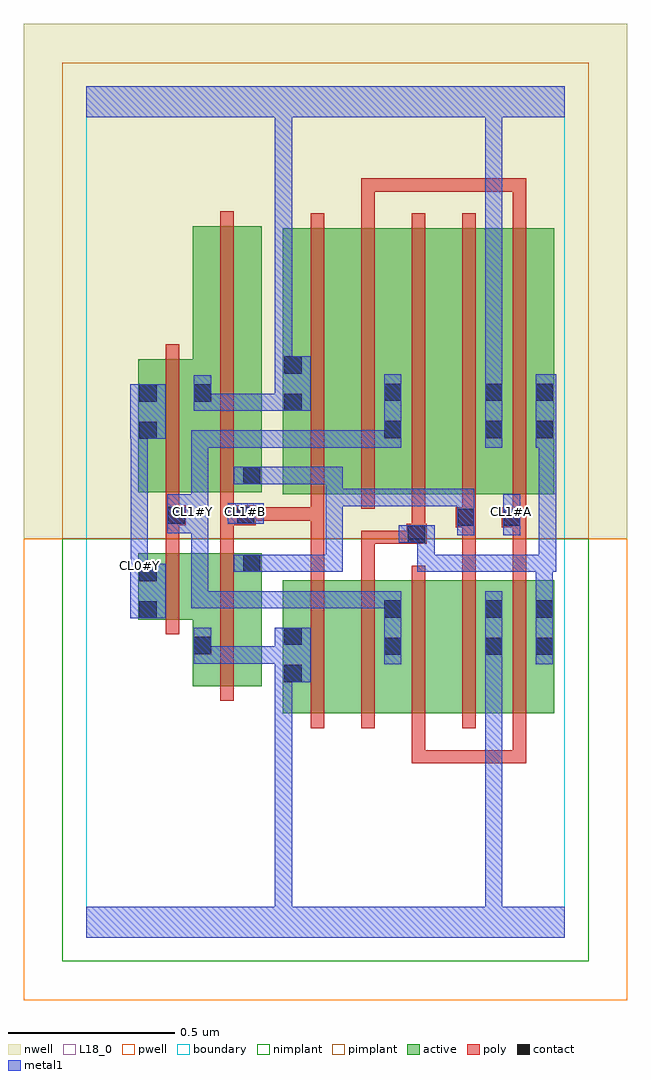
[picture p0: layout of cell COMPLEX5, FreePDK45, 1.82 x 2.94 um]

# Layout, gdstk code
import gdstk
lib = gdstk.Library(unit=1e-6, precision=1e-09)
def R(c, l, rs):  # rectangles x0, y0, x1, y1
    for r in rs: c.add(gdstk.rectangle(r[:2], r[2:], *l))
def A(c, l, x, y, w, h, nx, ny, dx, dy):  # array of equal rectangles
    R(c, l, [(x+i*dx, y+j*dy, x+i*dx+w, y+j*dy+h) for i in range(nx) for j in range(ny)])
active = (1, 0)
pwell = (2, 0)
nwell = (3, 0)
nimplant = (4, 0)
pimplant = (5, 0)
poly = (9, 0)
contact = (10, 0)
metal1 = (11, 0)
L18_0 = (18, 0)
boundary = (235, 0)

complex5 = lib.new_cell('COMPLEX5')
R(complex5, active, [(0.592,0.674,0.772,1.074), (0.772,0.674,0.952,1.074), (0.892,0.674,0.952,1.018), (0.892,0.674,1.076,1.074), (1.076,0.674,1.256,1.074), (1.196,0.674,1.408,1.074), (1.196,0.674,1.256,1.018), (1.348,0.674,1.408,1.074), (0.32,0.756,0.528,1.156), (0.468,0.756,0.528,1.156), (0.592,0.756,0.652,0.936), (0.32,0.848,0.38,1.156), (0.156,0.956,0.38,1.156), (0.156,0.956,0.216,1.156), (0.592,1.334,0.772,2.134), (0.772,1.334,0.952,2.134), (0.892,1.334,1.076,2.134), (1.076,1.334,1.256,2.134), (1.196,1.334,1.256,2.134), (1.196,1.334,1.408,2.134), (1.348,1.334,1.408,2.134), (0.156,1.34,0.216,1.74), (0.156,1.34,0.38,1.74), (0.32,1.34,0.528,2.14), (0.468,1.34,0.528,2.044), (0.892,1.34,0.952,2.134), (0.592,1.476,0.652,2.044), (0.32,1.492,0.38,1.74)])
R(complex5, pwell, [(-0.188,-0.188,1.628,1.2)])
R(complex5, nwell, [(-0.188,1.2,1.628,2.748)])
R(complex5, nimplant, [(-0.072,-0.072,1.512,1.2)])
R(complex5, pimplant, [(-0.072,1.2,1.512,2.632)])
A(complex5, poly, 0.676, 0.63, 0.04, 0.488, 5, 1, 0.152, 0)
A(complex5, poly, 0.676, 1.29, 0.04, 0.888, 5, 1, 0.152, 0)
R(complex5, poly, [(0.98,0.524,1.02,0.67), (0.98,0.524,1.02,0.564), (0.98,0.524,1.184,0.564), (1.144,0.524,1.184,0.564), (1.144,0.524,1.184,0.564), (1.144,0.524,1.184,0.564), (1.144,0.524,1.324,0.564), (1.284,0.524,1.324,0.67), (1.284,0.524,1.324,0.564), (1.284,0.524,1.324,0.564), (1.284,0.524,1.324,0.564), (0.404,0.712,0.444,1.2), (0.24,0.912,0.28,1.2), (0.676,1.078,0.716,1.294), (0.828,1.078,0.868,1.224), (1.132,1.078,1.172,1.274), (1.284,1.078,1.324,1.274), (0.24,1.16,0.28,1.28), (0.404,1.16,0.444,1.28), (0.828,1.184,0.868,1.224), (0.828,1.184,1.004,1.224), (0.964,1.184,1.004,1.224), (0.964,1.184,1.004,1.224), (0.964,1.184,1.024,1.244), (0.98,1.204,1.02,1.244), (0.98,1.204,1.02,1.244), (0.98,1.204,1.02,1.33), (1.112,1.234,1.172,1.294), (1.132,1.234,1.172,1.274), (1.132,1.234,1.172,1.274), (1.25,1.234,1.324,1.294), (1.284,1.234,1.324,1.274), (1.284,1.234,1.324,1.274), (0.24,1.24,0.3,1.3), (0.404,1.24,0.444,1.28), (0.404,1.24,0.444,1.28), (0.404,1.24,0.51,1.3), (0.47,1.254,0.51,1.294), (0.47,1.254,0.51,1.294), (0.47,1.254,0.716,1.294), (0.676,1.254,0.716,1.294), (0.676,1.254,0.716,1.294), (0.676,1.254,0.716,1.294), (0.676,1.254,0.716,1.294), (0.676,1.254,0.716,1.294), (0.676,1.254,0.716,1.33), (1.132,1.254,1.172,1.33), (1.284,1.254,1.324,1.33), (0.24,1.26,0.28,1.3), (0.24,1.26,0.28,1.3), (0.24,1.26,0.28,1.336), (0.404,1.26,0.444,1.336), (0.24,1.296,0.28,1.784), (0.404,1.296,0.444,2.184), (0.828,2.138,0.868,2.284), (1.284,2.138,1.324,2.284), (0.828,2.244,0.868,2.284), (0.828,2.244,0.868,2.284), (0.828,2.244,0.868,2.284), (0.828,2.244,1.046,2.284), (1.006,2.244,1.046,2.284), (1.006,2.244,1.184,2.284), (1.144,2.244,1.184,2.284), (1.144,2.244,1.184,2.284), (1.144,2.244,1.184,2.284), (1.144,2.244,1.324,2.284), (1.284,2.244,1.324,2.284), (1.284,2.244,1.324,2.284), (1.284,2.244,1.324,2.284)])
R(complex5, contact, [(0.596,0.768,0.648,0.82), (0.896,0.85,0.948,0.902), (1.2,0.85,1.252,0.902), (1.352,0.85,1.404,0.902), (0.324,0.852,0.376,0.904), (0.596,0.88,0.648,0.932), (0.16,0.96,0.212,1.012), (0.896,0.962,0.948,1.014), (1.2,0.962,1.252,1.014), (1.352,0.962,1.404,1.014), (0.16,1.072,0.212,1.124), (0.472,1.1,0.524,1.152), (0.968,1.188,1.02,1.24), (1.116,1.238,1.168,1.29), (1.254,1.238,1.306,1.29), (0.244,1.244,0.296,1.296), (0.454,1.244,0.506,1.296), (0.472,1.364,0.524,1.416), (0.16,1.5,0.212,1.552), (0.896,1.502,0.948,1.554), (1.2,1.502,1.252,1.554), (1.352,1.502,1.404,1.554), (0.596,1.584,0.648,1.636), (0.16,1.612,0.212,1.664), (0.324,1.612,0.376,1.664), (0.896,1.614,0.948,1.666), (1.2,1.614,1.252,1.666), (1.352,1.614,1.404,1.666), (0.596,1.696,0.648,1.748)])
A(complex5, metal1, 0.5, 1.1, 0.052, 0.052, 3, 1, 0.11, 0)
R(complex5, metal1, [(0,0,1.44,0.092), (0.568,0.04,0.62,0.092), (0.568,0.04,0.62,0.092), (0.568,0.04,0.62,0.092), (0.568,0.04,0.62,0.092), (0.568,0.04,0.62,0.092), (0.568,0.04,0.62,0.092), (0.568,0.04,0.62,0.092), (0.568,0.04,0.62,0.092), (0.568,0.04,0.62,0.092), (0.568,0.04,0.62,0.092), (0.568,0.04,0.62,0.092), (0.568,0.04,0.62,0.092), (0.568,0.04,0.62,0.82), (1.2,0.04,1.252,0.092), (1.2,0.04,1.252,0.092), (1.2,0.04,1.252,0.092), (1.2,0.04,1.252,0.092), (1.2,0.04,1.252,0.874), (0.568,0.768,0.676,0.932), (0.896,0.822,0.948,1.042), (1.2,0.822,1.252,0.874), (1.2,0.822,1.252,0.874), (1.2,0.822,1.252,0.874), (1.2,0.822,1.252,0.874), (1.2,0.822,1.252,0.874), (1.2,0.822,1.252,0.874), (1.2,0.822,1.252,0.874), (1.2,0.822,1.252,0.874), (1.2,0.822,1.252,1.042), (1.352,0.822,1.404,1.042), (0.324,0.824,0.456,0.876), (0.324,0.824,0.376,0.932), (0.404,0.824,0.456,0.876), (0.404,0.824,0.62,0.876), (0.568,0.824,0.62,0.876), (0.568,0.824,0.62,0.876), (0.132,0.96,0.24,1.124), (0.316,0.99,0.368,1.042), (0.316,0.99,0.486,1.042), (0.316,0.99,0.368,1.334), (0.434,0.99,0.486,1.042), (0.434,0.99,0.662,1.042), (0.61,0.99,0.662,1.042), (0.61,0.99,0.662,1.042), (0.61,0.99,0.662,1.042), (0.61,0.99,0.662,1.042), (0.61,0.99,0.662,1.042), (0.61,0.99,0.772,1.042), (0.72,0.99,0.772,1.042), (0.72,0.99,0.772,1.042), (0.72,0.99,0.772,1.042), (0.72,0.99,0.882,1.042), (0.83,0.99,0.882,1.042), (0.83,0.99,0.948,1.042), (1.352,0.99,1.404,1.152), (0.134,1.066,0.186,1.174), (0.134,1.072,0.186,1.124), (0.444,1.1,0.552,1.152), (0.5,1.1,0.552,1.152), (0.5,1.1,0.662,1.152), (0.61,1.1,0.772,1.152), (0.72,1.1,0.772,1.152), (0.72,1.1,0.772,1.152), (0.72,1.1,0.772,1.35), (0.996,1.1,1.048,1.24), (0.996,1.1,1.168,1.152), (1.116,1.1,1.168,1.152), (1.116,1.1,1.168,1.152), (1.116,1.1,1.168,1.152), (1.116,1.1,1.404,1.152), (1.352,1.1,1.404,1.152), (1.352,1.1,1.404,1.152), (1.352,1.1,1.414,1.152), (1.362,1.1,1.414,1.526), (1.362,1.1,1.414,1.152), (1.362,1.1,1.414,1.152), (0.134,1.122,0.186,1.174), (0.134,1.122,0.186,1.174), (0.134,1.122,0.186,1.552), (0.94,1.188,1.048,1.24), (0.996,1.188,1.048,1.24), (1.116,1.21,1.168,1.35), (1.254,1.21,1.306,1.334), (0.244,1.216,0.346,1.334), (0.426,1.244,0.534,1.306), (0.294,1.282,0.368,1.334), (0.316,1.282,0.368,1.334), (0.316,1.282,0.368,1.334), (0.316,1.282,0.368,1.334), (0.316,1.282,0.368,1.334), (0.316,1.282,0.368,1.334), (0.316,1.282,0.368,1.526), (0.72,1.298,0.772,1.35), (0.72,1.298,0.882,1.35), (0.72,1.298,0.772,1.416), (0.83,1.298,0.882,1.35), (0.83,1.298,0.882,1.35), (0.83,1.298,0.882,1.35), (0.83,1.298,1.058,1.35), (1.006,1.298,1.058,1.35), (1.006,1.298,1.058,1.35), (1.006,1.298,1.058,1.35), (1.006,1.298,1.168,1.35), (0.444,1.364,0.552,1.416), (0.5,1.364,0.662,1.416), (0.61,1.364,0.662,1.416), (0.61,1.364,0.772,1.416), (0.72,1.364,0.772,1.416), (0.72,1.364,0.772,1.416), (0.72,1.364,0.772,1.416), (0.316,1.474,0.368,1.526), (0.316,1.474,0.368,1.526), (0.316,1.474,0.368,1.526), (0.316,1.474,0.456,1.526), (0.404,1.474,0.456,1.526), (0.404,1.474,0.596,1.526), (0.544,1.474,0.596,1.526), (0.544,1.474,0.596,1.526), (0.544,1.474,0.596,1.526), (0.544,1.474,0.772,1.526), (0.72,1.474,0.772,1.526), (0.72,1.474,0.772,1.526), (0.72,1.474,0.772,1.526), (0.72,1.474,0.882,1.526), (0.83,1.474,0.882,1.526), (0.83,1.474,0.948,1.526), (0.896,1.474,0.948,1.694), (1.2,1.474,1.252,1.694), (1.352,1.474,1.414,1.694), (0.132,1.5,0.24,1.664), (0.324,1.584,0.486,1.636), (0.324,1.584,0.376,1.692), (0.434,1.584,0.486,1.636), (0.434,1.584,0.486,1.636), (0.434,1.584,0.486,1.636), (0.434,1.584,0.62,1.636), (0.568,1.584,0.676,1.748), (1.2,1.642,1.252,2.52), (0.568,1.696,0.62,2.52), (0,2.468,1.44,2.56), (0.568,2.468,0.62,2.52), (0.568,2.468,0.62,2.52), (0.568,2.468,0.62,2.52), (0.568,2.468,0.62,2.52), (0.568,2.468,0.62,2.52), (0.568,2.468,0.62,2.52), (0.568,2.468,0.62,2.52), (0.568,2.468,0.62,2.52), (1.2,2.468,1.252,2.52), (1.2,2.468,1.252,2.52), (1.2,2.468,1.252,2.52), (1.2,2.468,1.252,2.52), (1.2,2.468,1.252,2.52), (1.2,2.468,1.252,2.52), (1.2,2.468,1.252,2.52), (1.2,2.468,1.252,2.52)])
R(complex5, L18_0, [(0,0,1.44,0.092), (0.568,0.04,0.62,0.092), (0.568,0.04,0.62,0.092), (0.568,0.04,0.62,0.092), (0.568,0.04,0.62,0.092), (0.568,0.04,0.62,0.092), (0.568,0.04,0.62,0.092), (0.568,0.04,0.62,0.092), (0.568,0.04,0.62,0.092), (0.568,0.04,0.62,0.092), (0.568,0.04,0.62,0.092), (0.568,0.04,0.62,0.092), (0.568,0.04,0.62,0.092), (0.568,0.04,0.62,0.82), (1.2,0.04,1.252,0.092), (1.2,0.04,1.252,0.092), (1.2,0.04,1.252,0.092), (1.2,0.04,1.252,0.092), (1.2,0.04,1.252,0.874), (0.568,0.768,0.676,0.932), (0.896,0.822,0.948,1.042), (1.2,0.822,1.252,0.874), (1.2,0.822,1.252,0.874), (1.2,0.822,1.252,0.874), (1.2,0.822,1.252,0.874), (1.2,0.822,1.252,0.874), (1.2,0.822,1.252,0.874), (1.2,0.822,1.252,0.874), (1.2,0.822,1.252,0.874), (1.2,0.822,1.252,1.042), (0.324,0.824,0.376,0.932), (0.324,0.824,0.456,0.876), (0.404,0.824,0.456,0.876), (0.404,0.824,0.62,0.876), (0.568,0.824,0.62,0.876), (0.568,0.824,0.62,0.876), (0.132,0.96,0.24,1.124), (0.316,0.99,0.368,1.042), (0.316,0.99,0.368,1.334), (0.316,0.99,0.486,1.042), (0.434,0.99,0.486,1.042), (0.434,0.99,0.662,1.042), (0.61,0.99,0.662,1.042), (0.61,0.99,0.662,1.042), (0.61,0.99,0.662,1.042), (0.61,0.99,0.662,1.042), (0.61,0.99,0.662,1.042), (0.61,0.99,0.772,1.042), (0.72,0.99,0.772,1.042), (0.72,0.99,0.772,1.042), (0.72,0.99,0.772,1.042), (0.72,0.99,0.882,1.042), (0.83,0.99,0.882,1.042), (0.83,0.99,0.948,1.042), (0.134,1.066,0.186,1.174), (0.134,1.072,0.186,1.124), (0.134,1.094,0.186,1.146), (0.134,1.122,0.186,1.174), (0.134,1.122,0.186,1.174), (0.134,1.122,0.186,1.552), (1.254,1.21,1.306,1.334), (0.244,1.216,0.346,1.334), (0.426,1.244,0.534,1.306), (0.294,1.254,0.346,1.306), (0.454,1.254,0.506,1.306), (1.254,1.254,1.306,1.306), (0.294,1.282,0.368,1.334), (0.316,1.282,0.368,1.334), (0.316,1.282,0.368,1.334), (0.316,1.282,0.368,1.334), (0.316,1.282,0.368,1.334), (0.316,1.282,0.368,1.334), (0.316,1.282,0.368,1.526), (0.316,1.474,0.368,1.526), (0.316,1.474,0.368,1.526), (0.316,1.474,0.368,1.526), (0.316,1.474,0.456,1.526), (0.404,1.474,0.456,1.526), (0.404,1.474,0.596,1.526), (0.544,1.474,0.596,1.526), (0.544,1.474,0.596,1.526), (0.544,1.474,0.596,1.526), (0.544,1.474,0.772,1.526), (0.72,1.474,0.772,1.526), (0.72,1.474,0.772,1.526), (0.72,1.474,0.772,1.526), (0.72,1.474,0.882,1.526), (0.83,1.474,0.882,1.526), (0.83,1.474,0.948,1.526), (0.896,1.474,0.948,1.694), (1.2,1.474,1.252,1.694), (0.132,1.5,0.24,1.664), (0.324,1.584,0.376,1.692), (0.324,1.584,0.486,1.636), (0.434,1.584,0.486,1.636), (0.434,1.584,0.486,1.636), (0.434,1.584,0.486,1.636), (0.434,1.584,0.62,1.636), (0.568,1.584,0.676,1.748), (1.2,1.642,1.252,2.52), (0.568,1.696,0.62,2.52), (0,2.468,1.44,2.56), (0.568,2.468,0.62,2.52), (0.568,2.468,0.62,2.52), (0.568,2.468,0.62,2.52), (0.568,2.468,0.62,2.52), (0.568,2.468,0.62,2.52), (0.568,2.468,0.62,2.52), (0.568,2.468,0.62,2.52), (0.568,2.468,0.62,2.52), (1.2,2.468,1.252,2.52), (1.2,2.468,1.252,2.52), (1.2,2.468,1.252,2.52), (1.2,2.468,1.252,2.52), (1.2,2.468,1.252,2.52), (1.2,2.468,1.252,2.52), (1.2,2.468,1.252,2.52), (1.2,2.468,1.252,2.52)])
R(complex5, boundary, [(0,0,1.44,2.56)])
complex5.add(gdstk.Label('CL0#Y', (0.16,1.12), layer=11, texttype=0))
complex5.add(gdstk.Label('CL1#A', (1.28,1.28), layer=11, texttype=0))
complex5.add(gdstk.Label('CL1#B', (0.48,1.28), layer=11, texttype=0))
complex5.add(gdstk.Label('CL1#Y', (0.32,1.28), layer=11, texttype=0))

lib.write_gds('COMPLEX5.gds')
